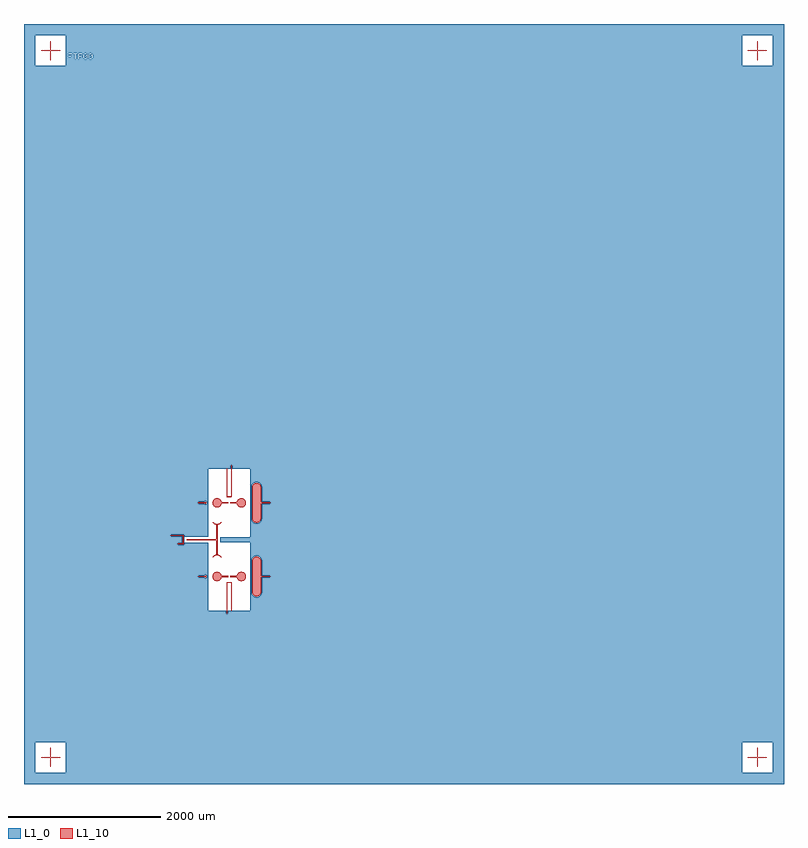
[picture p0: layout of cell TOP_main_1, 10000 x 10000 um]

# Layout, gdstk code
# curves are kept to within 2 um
import gdstk
lib = gdstk.Library(unit=1e-6, precision=1e-09)
def P(c, l, *ps):  # polygons
    for p in ps: c.add(gdstk.Polygon(p, *l))
L1_0 = (1, 0)
L1_10 = (1, 10)

ground_main_1 = lib.new_cell('ground_main_1')
P(ground_main_1, L1_0, [(-2319,-2720),(-2319,-2762.5),(-2341,-2762.5),(-2341,-2720),(-2575,-2720),(-2575,-2000.842),(-5000,-2000.842),(-5000,-2281),(-2710,-2281),(-2710,-2259),(-2630.843,-2259),(-2622.189,-2250.598),(-2611.818,-2248),(-2596.262,-2254.444),(-2589.818,-2270),(-2596.262,-2285.556),(-2611.818,-2292),(-2622.189,-2289.402),(-2630.843,-2281),(-5000,-2281),(-5000,-4850),(-4850,-4850),(-4850,-4450),(-4450,-4450),(-4450,-4850),(4450,-4850),(4450,-4450),(4850,-4450),(4850,-4850),(-5000,-4850),(-5000,-5000),(5000,-5000),(5000,-2000.842),(-1920.841,-2000.842),(-1903.332,-2009.123),(-1888.981,-2022.13),(-1875.268,-2051.124),(-1874,-2259),(-1760,-2259),(-1760,-2281),(-1874,-2281),(-1874,-2476),(-1876.842,-2495.159),(-1885.123,-2512.668),(-1898.13,-2527.019),(-1920.841,-2539.158),(-1940,-2542),(-1965.257,-2536.976),(-1986.669,-2522.669),(-2000.976,-2501.257),(-2006,-2476),(-2005.682,-2057.531),(-2000.976,-2038.743),(-1991.019,-2022.13),(-1976.668,-2009.123),(-1959.159,-2000.842),(-2025,-2000.842),(-2025,-2720)],
  [(-2417.5,-1750),(-2417.5,-1820),(-2025,-1820),(-2025,-2000.842),(-1959.159,-2000.842),(-1940,-1998),(-1920.841,-2000.842),(5000,-2000.842),(5000,-1042.981),(-1898.13,-1042.981),(-1881.793,-1062.888),(-1874.318,-1087.531),(-1874,-1289),(-1760,-1289),(-1760,-1311),(-1874,-1311),(-1874,-1506),(-1876.842,-1525.159),(-1885.123,-1542.668),(-1898.13,-1557.019),(-1920.841,-1569.158),(-1940,-1572),(-1959.159,-1569.158),(-1981.87,-1557.019),(-1994.877,-1542.668),(-2004.732,-1518.876),(-2006,-1094),(-1998.207,-1062.888),(-1981.87,-1042.981),(-2025,-1042.981),(-2025,-1750)],
  [(-2575,-2000.842),(-2575,-1822.5),(-2890,-1822.5),(-2890,-1747.5),(-2575,-1747.5),(-2575,-1042.981),(-5000,-1042.981),(-5000,-1311),(-2710,-1311),(-2710,-1289),(-2630.843,-1289),(-2622.189,-1280.598),(-2611.818,-1278),(-2596.262,-1284.444),(-2589.818,-1300),(-2596.262,-1315.556),(-2611.818,-1322),(-2622.189,-1319.402),(-2630.843,-1311),(-5000,-1311),(-5000,-1741),(-3070,-1741),(-3070,-1719),(-2894,-1719),(-2894,-1851),(-2980,-1851),(-2980,-1829),(-2916,-1829),(-2916,-1741),(-5000,-1741),(-5000,-2000.842)],
  [(5000,5000),(-5000,5000),(-5000,4450),(-4850,4450),(-4850,4850),(-4450,4850),(-4450,4537.222),(-4420,4537.222),(-4420,4615),(-4364.444,4615),(-4364.444,4603.889),(-4353.333,4603.889),(-4353.333,4615),(-4297.778,4615),(-4297.778,4603.889),(-4320,4603.889),(-4320,4537.222),(-4286.667,4537.222),(-4286.667,4615),(-4231.111,4615),(-4231.111,4603.889),(-4275.556,4603.889),(-4275.556,4581.667),(-4242.222,4581.667),(-4242.222,4570.556),(-4275.556,4570.556),(-4275.556,4548.333),(-4220,4548.333),(-4220,4603.889),(-4208.889,4603.889),(-4208.889,4615),(-4175.556,4615),(-4175.556,4603.889),(-4208.889,4603.889),(-4208.889,4570.556),(-4197.778,4570.556),(-4197.778,4581.667),(-4186.667,4581.667),(-4186.667,4592.778),(-4175.556,4592.778),(-4175.556,4603.889),(-4164.444,4603.889),(-4164.444,4548.333),(-4153.333,4548.333),(-4153.333,4603.889),(-4142.222,4603.889),(-4142.222,4615),(-4108.889,4615),(-4108.889,4603.889),(-4142.222,4603.889),(-4142.222,4570.556),(-4131.111,4570.556),(-4131.111,4581.667),(-4120,4581.667),(-4120,4592.778),(-4108.889,4592.778),(-4108.889,4603.889),(-4097.778,4603.889),(-4097.778,4548.333),(-4108.889,4548.333),(-4108.889,4581.667),(-4120,4581.667),(-4120,4570.556),(-4131.111,4570.556),(-4131.111,4559.444),(-4142.222,4559.444),(-4142.222,4548.333),(-4175.556,4548.333),(-4175.556,4581.667),(-4186.667,4581.667),(-4186.667,4570.556),(-4197.778,4570.556),(-4197.778,4559.444),(-4208.889,4559.444),(-4208.889,4548.333),(-4275.556,4548.333),(-4275.556,4537.222),(-4208.889,4537.222),(-4208.889,4548.333),(-4175.556,4548.333),(-4175.556,4537.222),(-4142.222,4537.222),(-4142.222,4548.333),(-4108.889,4548.333),(-4108.889,4537.222),(-4331.111,4537.222),(-4331.111,4603.889),(-4408.889,4603.889),(-4408.889,4581.667),(-4375.556,4581.667),(-4375.556,4570.556),(-4408.889,4570.556),(-4408.889,4537.222),(-4450,4537.222),(-4450,4450),(4450,4450),(4450,4850),(4850,4850),(4850,4450),(-5000,4450),(-5000,-1042.981),(-2575,-1042.981),(-2575,-850),(-2281,-850),(-2281,-807.5),(-2259,-807.5),(-2259,-850),(-2025,-850),(-2025,-1042.981),(-1981.87,-1042.981),(-1959.159,-1030.842),(-1940,-1028),(-1920.841,-1030.842),(-1898.13,-1042.981),(5000,-1042.981)])

top_main_1 = lib.new_cell('TOP_main_1')
P(top_main_1, L1_10, [(-2285,-2277.5),(-2285,-2262.5),(-2199.471,-2262.5),(-2192.915,-2241.716),(-2182.426,-2227.574),(-2162.961,-2214.567),(-2145.881,-2210.289),(-2122.583,-2212.584),(-2101.936,-2223.619),(-2087.085,-2241.716),(-2080.289,-2264.119),(-2082.584,-2287.417),(-2093.619,-2308.064),(-2111.716,-2322.915),(-2134.119,-2329.711),(-2157.417,-2327.416),(-2178.064,-2316.381),(-2192.915,-2298.284),(-2199.471,-2277.5)],
  [(-2315,-2262.5),(-2315,-2277.5),(-2400.529,-2277.5),(-2407.085,-2298.284),(-2417.574,-2312.426),(-2437.039,-2325.433),(-2454.119,-2329.711),(-2477.417,-2327.416),(-2498.064,-2316.381),(-2512.915,-2298.284),(-2519.711,-2275.881),(-2517.416,-2252.583),(-2506.381,-2231.936),(-2488.284,-2217.085),(-2465.881,-2210.289),(-2442.583,-2212.584),(-2421.936,-2223.619),(-2407.085,-2241.716),(-2400.529,-2262.5)],
  [(-2334.808,-2353.049),(-2331.344,-2347.27),(-2325.98,-2345.048),(-2275,-2345),(-2267.929,-2347.929),(-2265,-2355),(-2265,-2720),(-2275,-2720),(-2275,-2355),(-2325,-2355),(-2325,-2762.5),(-2335,-2762.5)],
  [(-2710,-2265),(-2710,-2275),(-2618.648,-2275),(-2614.714,-2278.819),(-2610,-2280),(-2603.656,-2277.73),(-2600.048,-2270.98),(-2602.27,-2263.656),(-2609.02,-2260.048),(-2614.714,-2261.181),(-2618.648,-2265)],
  [(-1998.847,-2058.295),(-1986.381,-2031.936),(-1962.961,-2014.567),(-1934.119,-2010.289),(-1917.039,-2014.567),(-1901.936,-2023.619),(-1887.085,-2041.716),(-1880.289,-2064.119),(-1880,-2265),(-1760,-2265),(-1760,-2275),(-1880,-2275),(-1881.153,-2481.705),(-1887.085,-2498.284),(-1901.936,-2516.381),(-1917.039,-2525.433),(-1934.119,-2529.711),(-1957.417,-2527.416),(-1978.064,-2516.381),(-1992.915,-2498.284),(-1999.711,-2475.881)],
  [(-2315,-1292.5),(-2315,-1307.5),(-2400.529,-1307.5),(-2407.085,-1328.284),(-2417.574,-1342.426),(-2437.039,-1355.433),(-2454.119,-1359.711),(-2477.417,-1357.416),(-2498.064,-1346.381),(-2512.915,-1328.284),(-2519.711,-1305.881),(-2517.416,-1282.583),(-2506.381,-1261.936),(-2488.284,-1247.085),(-2465.881,-1240.289),(-2442.583,-1242.584),(-2421.936,-1253.619),(-2407.085,-1271.716),(-2400.529,-1292.5)],
  [(-2285,-1307.5),(-2285,-1292.5),(-2199.471,-1292.5),(-2192.915,-1271.716),(-2182.426,-1257.574),(-2162.961,-1244.567),(-2145.881,-1240.289),(-2122.583,-1242.584),(-2101.936,-1253.619),(-2087.085,-1271.716),(-2080.289,-1294.119),(-2082.584,-1317.417),(-2093.619,-1338.064),(-2111.716,-1352.915),(-2134.119,-1359.711),(-2157.417,-1357.416),(-2178.064,-1346.381),(-2192.915,-1328.284),(-2199.471,-1307.5)],
  [(-2265.192,-1216.951),(-2268.656,-1222.73),(-2274.02,-1224.952),(-2325,-1225),(-2332.071,-1222.071),(-2335,-1215),(-2335,-850),(-2325,-850),(-2325,-1215),(-2275,-1215),(-2275,-807.5),(-2265,-807.5)],
  [(-2710,-1305),(-2710,-1295),(-2618.648,-1295),(-2614.714,-1291.181),(-2610,-1290),(-2603.656,-1292.27),(-2600.048,-1299.02),(-2602.27,-1306.344),(-2609.02,-1309.952),(-2614.714,-1308.819),(-2618.648,-1305)],
  [(-1998.847,-1511.705),(-1986.381,-1538.064),(-1962.961,-1555.433),(-1934.119,-1559.711),(-1917.039,-1555.433),(-1901.936,-1546.381),(-1887.085,-1528.284),(-1880.289,-1505.881),(-1880,-1305),(-1760,-1305),(-1760,-1295),(-1880,-1295),(-1881.153,-1088.295),(-1887.085,-1071.716),(-1901.936,-1053.619),(-1917.039,-1044.567),(-1934.119,-1040.289),(-1957.417,-1042.584),(-1978.064,-1053.619),(-1992.915,-1071.716),(-1999.711,-1094.119)],
  [(-2432.829,-1987.405),(-2414.958,-1998.116),(-2400.399,-2014.5),(-2410.213,-2014.5),(-2420.033,-2004.3),(-2435.891,-1994.796),(-2460,-1990),(-2484.109,-1994.796),(-2499.967,-2004.3),(-2509.787,-2014.5),(-2519.601,-2014.5),(-2499.445,-1993.966),(-2472.5,-1983.164),(-2472.5,-1792.5),(-2860,-1792.5),(-2860,-1777.5),(-2472.5,-1777.5),(-2472.5,-1586.836),(-2499.445,-1576.034),(-2519.601,-1555.5),(-2509.787,-1555.5),(-2499.967,-1565.7),(-2484.109,-1575.204),(-2460,-1580),(-2435.891,-1575.204),(-2420.033,-1565.7),(-2410.213,-1555.5),(-2400.399,-1555.5),(-2420.555,-1576.034),(-2447.5,-1586.836),(-2447.5,-1983.164)],
  [(-2980,-1845),(-2980,-1835),(-2910,-1835),(-2910,-1735),(-3070,-1735),(-3070,-1725),(-2900,-1725),(-2900,-1845),(-2980,-1845)],
  [(-4775,4645),(-4775,4655),(-4655,4655),(-4655,4775),(-4645,4775),(-4645,4655),(-4525,4655),(-4525,4645),(-4645,4645),(-4645,4525),(-4655,4525),(-4655,4645),(-4775,4645)],
  [(4525,4645),(4525,4655),(4645,4655),(4645,4775),(4655,4775),(4655,4655),(4775,4655),(4775,4645),(4655,4645),(4655,4525),(4645,4525),(4645,4645),(4525,4645)],
  [(-4775,-4655),(-4775,-4645),(-4655,-4645),(-4655,-4525),(-4645,-4525),(-4645,-4645),(-4525,-4645),(-4525,-4655),(-4645,-4655),(-4645,-4775),(-4655,-4775),(-4655,-4655),(-4775,-4655)],
  [(4525,-4655),(4525,-4645),(4645,-4645),(4645,-4525),(4655,-4525),(4655,-4645),(4775,-4645),(4775,-4655),(4655,-4655),(4655,-4775),(4645,-4775),(4645,-4655),(4525,-4655)])
top_main_1.add(gdstk.Reference(ground_main_1, (0,0)))

lib.write_gds('TOP_main_1.gds')
